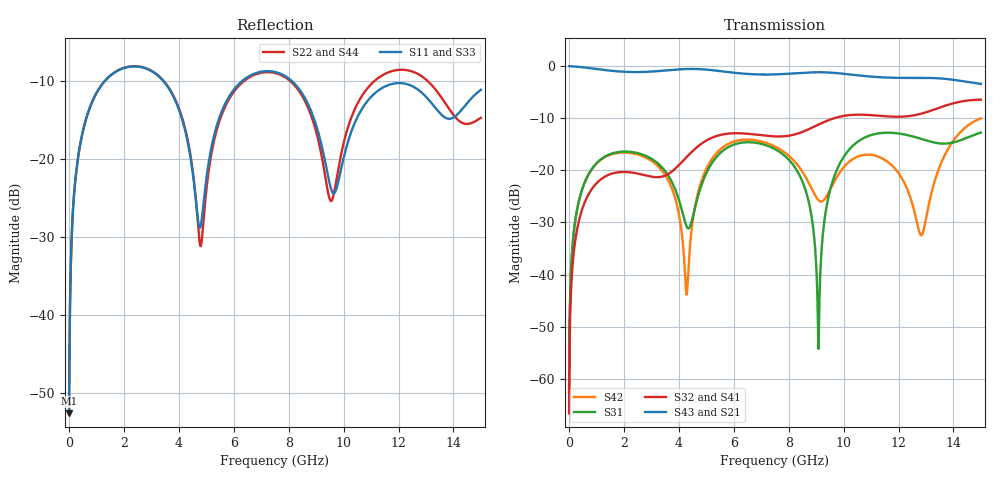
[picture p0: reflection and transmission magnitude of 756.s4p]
! Created with skrf 1.8.0 (http://scikit-rf.org).
# GHz S RI R 50.0
!freq ReS11 ImS11 ReS12 ImS12 ReS13 ImS13
! ReS14 ImS14
! ReS21 ImS21 ReS22 ImS22 ReS23 ImS23
! ReS24 ImS24
! ReS31 ImS31 ReS32 ImS32 ReS33 ImS33
! ReS34 ImS34
! ReS41 ImS41 ReS42 ImS42 ReS43 ImS43
! ReS44 ImS44
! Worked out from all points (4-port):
!   2499 points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, 5 MHz to 15 GHz, reference 50 ohm
!   strongest paths, dB at 5 MHz, 3.476 GHz, 7.19 GHz, 11.1 GHz, 15 GHz:
!     S43: 0.0, -0.9, -1.6, -2.1, -3.4
!     S21: 0.0, -0.9, -1.6, -2.1, -3.4
!     S32: -66.6, -21.1, -13.4, -9.5, -6.4
!     S41: -66.6, -21.1, -13.4, -9.5, -6.5
!     S31: -62.8, -20.0, -15.2, -13.1, -12.8
!     S42: -62.8, -20.7, -14.8, -17.1, -10.0
!   lowest |S11| = -52.5 dB at 5 MHz (marker M1), VSWR 1.00, Z = 50.2 + j0.143 ohm
!   |S11| at or under -10 dB: start of sweep to 1.292 GHz; 3.449 GHz to 6.285 GHz (2.836 GHz wide, 58.3 % of centre); 8.134 GHz to end of sweep
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0.005  0.00188 0.00143  0.9981 -0.00365  9.43e-05 0.000721  -9.16e-05 -0.000456
       0.9981 -0.00365  0.00188 0.00143  -9.16e-05 -0.000456  9.41e-05 0.000721
       9.43e-05 0.000721  -9.16e-05 -0.000456  0.00188 0.00143  0.9981 -0.00365
       -9.16e-05 -0.000456  9.41e-05 0.000721  0.9981 -0.00365  0.00188 0.00143
1.725719  0.3421 0.1327  0.3641 -0.8149  0.1465 0.0247  -0.0921 0.0231
          0.3641 -0.8149  0.3441 0.1305  -0.0922 0.0232  0.1416 0.0359
          0.1465 0.0247  -0.0922 0.0232  0.3422 0.1328  0.364 -0.8149
          -0.0921 0.0231  0.1416 0.0359  0.364 -0.8149  0.3443 0.1305
4.283035  0.0746 -0.1183  -0.8594 -0.3744  -0.0253 -0.0141  -0.0498 0.1244
          -0.8594 -0.3744  0.0684 -0.1265  -0.0489 0.1247  0.00625 0.00135
          -0.0253 -0.0141  -0.0489 0.1247  0.0754 -0.1193  -0.8592 -0.3745
          -0.0498 0.1244  0.00625 0.00135  -0.8592 -0.3745  0.0687 -0.1277
4.89579  0.0412 0.031  -0.9297 0.0189  -0.000612 0.0808  0.0106 0.185
         -0.9297 0.0189  0.0315 0.0244  0.0118 0.185  0.0327 0.0827
         -0.000612 0.0808  0.0118 0.185  0.0415 0.0295  -0.9298 0.0187
         0.0106 0.185  0.0327 0.0827  -0.9298 0.0187  0.0312 0.023
9.085035  0.0968 -0.1114  0.7685 0.4131  -0.00193 0.000137  0.1247 -0.2445
          0.7685 0.4131  0.0869 -0.0987  0.1213 -0.2463  -0.0481 -0.0192
          -0.00193 0.000137  0.1213 -0.2463  0.096 -0.1111  0.7696 0.4112
          0.1247 -0.2445  -0.0481 -0.0192  0.7696 0.4112  0.0864 -0.0982
10.27303  0.1136 0.0969  0.7886 -0.2544  0.1472 0.0757  -0.1322 -0.3123
          0.7886 -0.2544  0.1293 0.1308  -0.1366 -0.3109  0.0586 0.1101
          0.1472 0.0757  -0.1366 -0.3109  0.1133 0.097  0.7875 -0.2571
          -0.1322 -0.3123  0.0586 0.1101  0.7875 -0.2571  0.1306 0.1318
15  0.2745 0.0535  -0.6692 0.0941  0.044 0.226  0.108 0.4616
    -0.6692 0.0941  0.1846 -0.0111  0.1159 0.4621  0.1627 0.2698
    0.044 0.226  0.1159 0.4621  0.27 0.0545  -0.6675 0.102
    0.108 0.4616  0.1627 0.2698  -0.6675 0.102  0.1937 -0.00608
